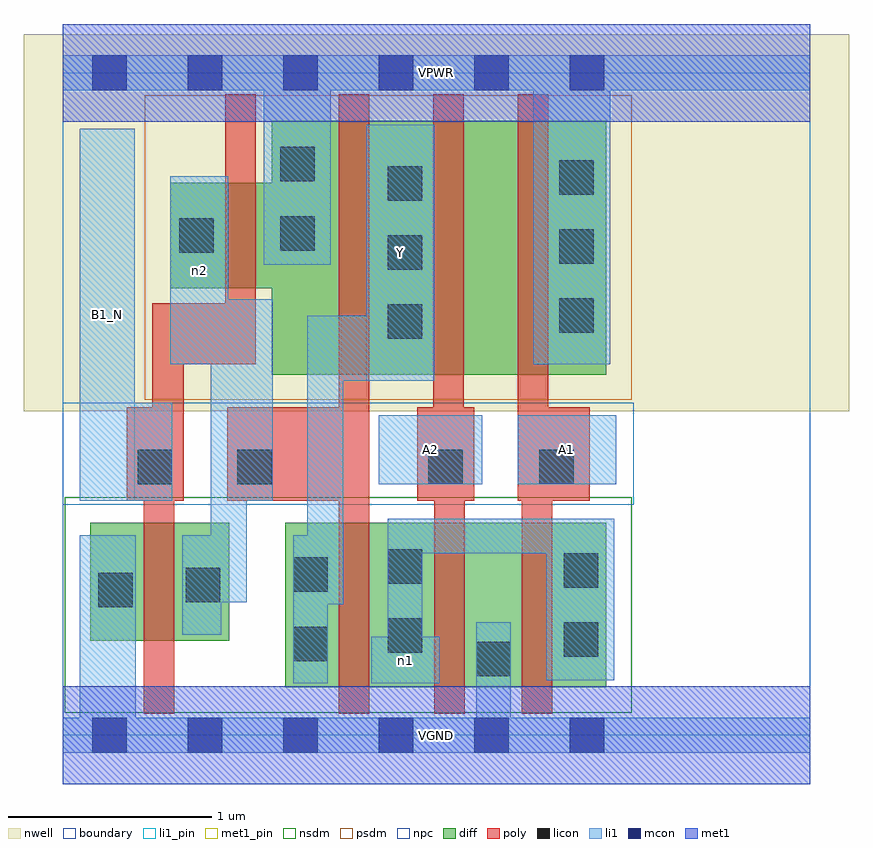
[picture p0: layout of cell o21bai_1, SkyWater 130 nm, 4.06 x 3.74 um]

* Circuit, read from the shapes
.subckt o21bai_1 A1 A2 B1_N VGND VPWR Y n1 n2
XM1 n2 B1_N VGND VSUBS sky130_fd_pr__nfet_01v8 w=0.58 l=0.15
XM2 n1 n2 Y VSUBS sky130_fd_pr__nfet_01v8 w=0.81 l=0.15
XM3 VGND A2 n1 VSUBS sky130_fd_pr__nfet_01v8 w=0.81 l=0.15
XM4 n1 A1 VGND VSUBS sky130_fd_pr__nfet_01v8 w=0.81 l=0.15
XM5 VPWR B1_N n2 n3 sky130_fd_pr__pfet_01v8 w=0.52 l=0.15
XM6 Y n2 VPWR n3 sky130_fd_pr__pfet_01v8 w=1.25 l=0.15
XM7 n4 A2 Y n3 sky130_fd_pr__pfet_01v8 w=1.25 l=0.15
XM8 VPWR A1 n4 n3 sky130_fd_pr__pfet_01v8 w=1.25 l=0.15
.ends

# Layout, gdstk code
import gdstk
lib = gdstk.Library(unit=1e-6, precision=1e-09)
def R(c, l, rs):  # rectangles x0, y0, x1, y1
    for r in rs: c.add(gdstk.rectangle(r[:2], r[2:], *l))
def A(c, l, x, y, w, h, nx, ny, dx, dy):  # array of equal rectangles
    R(c, l, [(x+i*dx, y+j*dy, x+i*dx+w, y+j*dy+h) for i in range(nx) for j in range(ny)])
nwell = (64, 20)
diff = (65, 20)
poly = (66, 20)
licon = (66, 44)
li1_pin = (67, 16)
li1 = (67, 20)
mcon = (67, 44)
met1_pin = (68, 16)
met1 = (68, 20)
nsdm = (93, 44)
psdm = (94, 20)
npc = (95, 20)
boundary = (235, 4)

o21bai_1 = lib.new_cell('o21bai_1')
R(o21bai_1, nwell, [(-0.19,1.595,3.87,3.45), (0,1.595,3.68,3.45)])
R(o21bai_1, diff, [(1.095,0.235,2.675,1.045), (0.135,0.465,0.82,1.045), (1.03,1.775,2.675,3.025), (0.53,2.2,2.675,2.72)])
R(o21bai_1, poly, [(0.4,0.105,0.55,1.615), (1.36,0.105,1.51,3.155), (1.83,0.105,1.98,1.615), (2.26,0.105,2.41,1.615), (0.315,1.155,0.595,1.615), (0.44,1.155,0.595,2.125), (0.81,1.155,1.51,1.615), (1.745,1.155,2.025,1.615), (1.825,1.155,1.975,3.155), (2.24,1.155,2.39,3.155), (2.24,1.155,2.595,1.615), (0.44,1.825,0.95,2.125), (0.8,1.825,0.95,3.155)])
A(o21bai_1, licon, 1.6, 1.95, 0.17, 0.17, 1, 3, 0, 0.34)
A(o21bai_1, licon, 2.445, 1.98, 0.17, 0.17, 1, 3, 0, 0.34)
R(o21bai_1, licon, [(2.035,0.29,2.205,0.46), (1.135,0.365,1.305,0.535), (2.465,0.385,2.635,0.555), (1.6,0.405,1.77,0.575), (0.175,0.63,0.345,0.8), (0.605,0.655,0.775,0.825), (1.135,0.705,1.305,0.875), (2.465,0.725,2.635,0.895), (1.6,0.745,1.77,0.915), (0.37,1.235,0.54,1.405), (0.86,1.235,1.03,1.405), (1.8,1.235,1.97,1.405), (2.345,1.235,2.515,1.405), (0.575,2.375,0.745,2.545), (1.07,2.385,1.24,2.555), (1.07,2.725,1.24,2.895)])
R(o21bai_1, li1_pin, [(0.085,1.155,0.355,2.985), (1.555,1.235,2.065,1.575), (2.24,1.235,2.725,1.575), (1.495,1.745,1.83,3.005)])
R(o21bai_1, li1, [(0,-0.085,3.68,0.085), (0.085,-0.085,0.36,0.985), (2.035,-0.085,2.205,0.555), (1.135,0.255,1.305,0.985), (1.52,0.255,1.855,0.485), (1.6,0.255,1.77,1.065), (2.38,0.27,2.715,1.065), (0.59,0.495,0.78,0.985), (1.205,0.645,1.38,2.065), (0.73,0.655,0.905,2.145), (1.6,0.895,2.715,1.065), (0.085,1.155,0.355,2.985), (0.085,1.155,0.54,1.635), (0.905,1.155,1.035,2.145), (1.555,1.235,2.065,1.575), (2.24,1.235,2.725,1.575), (1.205,1.745,1.83,2.065), (1.495,1.745,1.83,3.005), (0.53,1.825,0.815,2.75), (2.315,1.825,2.695,3.345), (0.99,2.315,1.32,3.345), (0,3.175,3.68,3.345)])
A(o21bai_1, mcon, 0.145, -0.085, 0.17, 0.17, 6, 2, 0.47, 3.26)
R(o21bai_1, met1_pin, [(0,-0.24,3.68,0.24), (0,3.02,3.68,3.5)])
R(o21bai_1, met1, [(0,-0.24,3.68,0.24), (0,3.02,3.68,3.5)])
R(o21bai_1, nsdm, [(0.01,0.11,2.8,1.17)])
R(o21bai_1, psdm, [(0.405,1.65,2.8,3.15)])
R(o21bai_1, npc, [(0,1.135,2.81,1.635)])
R(o21bai_1, boundary, [(0,0,3.68,3.26)])
o21bai_1.add(gdstk.Label('A1', (2.482,1.405), layer=67, texttype=5))
o21bai_1.add(gdstk.Label('A2', (1.81,1.405), layer=67, texttype=5))
o21bai_1.add(gdstk.Label('B1_N', (0.22,2.07), layer=67, texttype=5))
o21bai_1.add(gdstk.Label('Y', (1.662,2.375), layer=67, texttype=5))
o21bai_1.add(gdstk.Label('n1', (1.687,0.37), layer=67, texttype=5))
o21bai_1.add(gdstk.Label('n2', (0.672,2.287), layer=67, texttype=5))
o21bai_1.add(gdstk.Label('VPWR', (1.84,3.26), layer=68, texttype=5))
o21bai_1.add(gdstk.Label('VGND', (1.84,0), layer=68, texttype=5))
o21bai_1.add(gdstk.Label('A1', (2.482,1.405), layer=67, texttype=16))
o21bai_1.add(gdstk.Label('A2', (1.81,1.405), layer=67, texttype=16))
o21bai_1.add(gdstk.Label('B1_N', (0.22,2.07), layer=67, texttype=16))
o21bai_1.add(gdstk.Label('Y', (1.662,2.375), layer=67, texttype=16))
o21bai_1.add(gdstk.Label('VPWR', (1.84,3.26), layer=68, texttype=16))
o21bai_1.add(gdstk.Label('VGND', (1.84,0), layer=68, texttype=16))

lib.write_gds('o21bai_1.gds')
